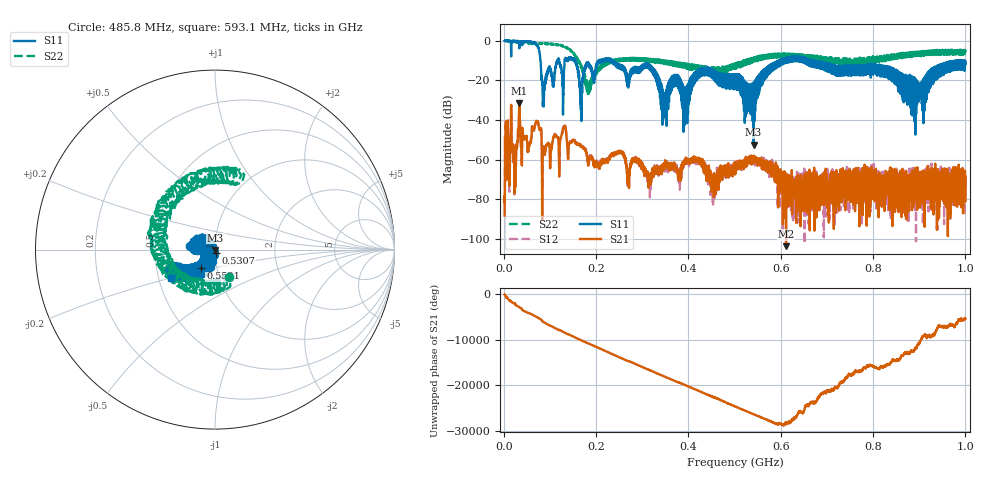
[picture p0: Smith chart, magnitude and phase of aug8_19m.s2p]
!Keysight Technologies N9923A: A.12.45
!Date: Friday, 08 August 2025 17:41:39
!Timezone: (UTC+08:00) Kuala Lumpur, Singapore
!Model: N9923A
!Serial: MY61181427
!GPS Latitude:
!GPS Longitude:
!GPS TimeStamp: 0001-01-01 00:00:00Z
!GPS Seconds Since Last Read: 0
!CHECKSUM:1470373117
!Correction: S11(ON U)S21(ON U)S12(ON U)S22(ON U)
!S2P File: Measurements:S11,S21,S12,S22:
# Hz S DB R 50
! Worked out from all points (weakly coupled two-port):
!   4001 points, 2 MHz to 1 GHz, reference 50 ohm
!   highest |S21| = -31.59 dB at 33.94 MHz (marker M1); lowest = -103.7 dB at 611.5 MHz (marker M2)
!   lowest |S11| = -52.5 dB at 541.2 MHz (marker M3), VSWR 1.00, Z = 50.1 - j0.203 ohm
!   |S11| at or under -10 dB: 155.1 MHz to 205.9 MHz (50.81 MHz wide, 28.2 % of centre); 235.9 MHz to 597.8 MHz (361.9 MHz wide, 86.8 % of centre); 667.2 MHz to 981 MHz (313.7 MHz wide, 38.1 % of centre) (the widest 3 of 74)
!   |S22| runs from -28.1 to 0.1 dB; largest |S21 - S12| = 0.0011
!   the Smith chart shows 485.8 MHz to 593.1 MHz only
!   S11 on the Smith chart (normalised r, x): 485.8 MHz: 0.75, +0.03; 530.7 MHz: 1.01, -0.04; 552.1 MHz: 0.83, -0.18; 593.1 MHz: 0.58, -0.20
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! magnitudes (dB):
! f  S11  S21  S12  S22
! 2 MHz  -0.1  -88.3  -78.8  0.0
! 33.94 MHz  -3.9  -31.6  -31.5  -1.1
! 72.11 MHz  -2.3  -41.0  -40.8  -1.3
! 86.83 MHz  -33.2  -53.7  -53.2  -1.7
! 145.2 MHz  -8.5  -51.3  -51.0  -5.3
! 168.4 MHz  -35.6  -53.2  -52.6  -13.6
! 183.6 MHz  -11.4  -61.5  -62.7  -28.1
! 222.6 MHz  -9.1  -61.0  -60.7  -11.1
! 334.8 MHz  -19.3  -65.3  -65.6  -11.3
! 348.3 MHz  -33.4  -63.7  -63.6  -11.8
! 370.5 MHz  -17.2  -63.5  -66.1  -11.8
! 485.8 MHz  -17.0  -64.6  -66.8  -15.4
! 501 MHz  -16.8  -63.6  -63.3  -14.8
! 530.7 MHz  -34.7  -60.1  -60.2  -9.4
! 541.2 MHz  -52.5  -60.7  -61.2  -9.9
! 552.1 MHz  -17.7  -61.1  -60.2  -8.2
! 593.1 MHz  -10.7  -68.4  -67.7  -6.9
! 611.5 MHz  -8.8  -103.7  -71.4  -6.6
! 667.4 MHz  -10.4  -79.8  -71.0  -8.3
! 833.8 MHz  -18.2  -67.9  -71.8  -8.2
! 895 MHz  -30.6  -68.1  -84.2  -5.7
! 1 GHz  -11.8  -68.8  -77.2  -6.1
